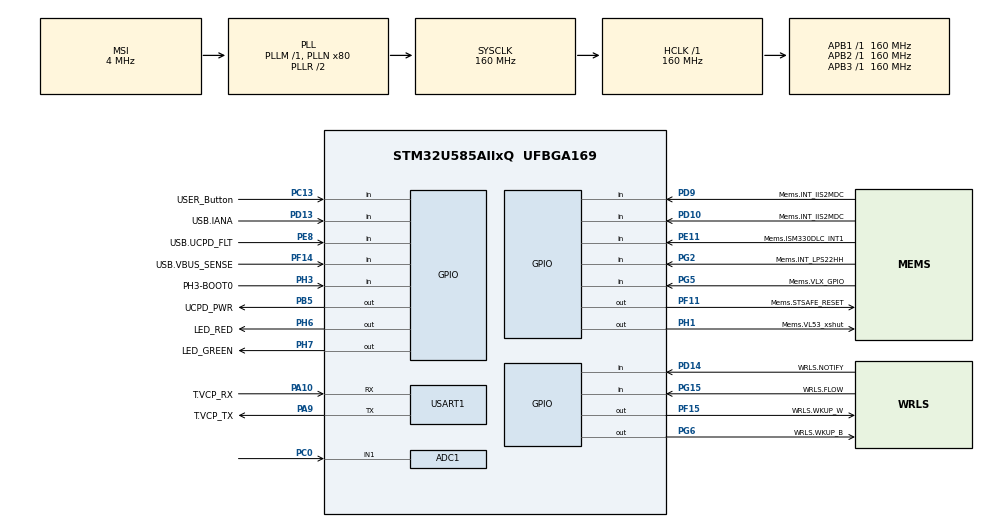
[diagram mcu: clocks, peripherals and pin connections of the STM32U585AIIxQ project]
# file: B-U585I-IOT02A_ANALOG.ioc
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ADC1.Channel-0\#ChannelRegularConversion=ADC_CHANNEL_1
ADC1.EnableRegularConversion=ENABLE
ADC1.MonitoredBy-0\#ChannelRegularConversion=__NULL
ADC1.NbrOfConversion=1
ADC1.NbrOfConversionFlag=1
ADC1.OffsetNumber-0\#ChannelRegularConversion=ADC_OFFSET_NONE
ADC1.Rank-0\#ChannelRegularConversion=1
ADC1.SamplingTime-0\#ChannelRegularConversion=ADC_SAMPLETIME_5CYCLE
ADC1.master=1
CORTEX_M33_NS.userName=CORTEX_M33
Mcu.Family=STM32U5
Mcu.Name=STM32U585AIIxQ
Mcu.Package=UFBGA169
NVIC.PriorityGroup=NVIC_PRIORITYGROUP_4
PA10.GPIO_Label=T.VCP_RX
PA10.Mode=Asynchronous
PA10.Signal=USART1_RX
PA11.GPIO_Label=USB.C_P
PA11.Signal=USB_OTG_FS_DM
PA12.GPIO_Label=USB.C_P
PA12.Signal=USB_OTG_FS_DP
PA13\ (JTMS/SWDIO).GPIO_Label=T.SWDIO
PA13\ (JTMS/SWDIO).Signal=DEBUG_JTMS-SWDIO
PA14\ (JTCK/SWCLK).GPIO_Label=T.SWCLK
PA14\ (JTCK/SWCLK).Signal=DEBUG_JTCK-SWCLK
PA15\ (JTDI).GPIO_Label=USB.UCPD_CC1
PA15\ (JTDI).Signal=UCPD1_CC1
PA9.GPIO_Label=T.VCP_TX
PA9.Mode=Asynchronous
PA9.Signal=USART1_TX
PB1.GPIO_Label=MIC.SDIN0
PB1.Signal=MDF1_SDI0
PB10.GPIO_Label=OCTOSPI.R_CLK_P
PB10.Signal=OCTOSPIM_P1_CLK
PB11.GPIO_Label=OCTOSPI.R_NCS
PB11.Signal=OCTOSPIM_P1_NCS
PB12.GPIO_Label=WRLS.SPI2_NSS
PB12.Signal=SPI2_NSS
PB15.GPIO_Label=USB.UCPD_CC2
PB15.Signal=UCPD1_CC2
PB3\ (JTDO/TRACESWO).GPIO_Label=T.SWO
PB3\ (JTDO/TRACESWO).Signal=DEBUG_JTDO-SWO
PB5.GPIO_Label=UCPD_PWR
PB5.Signal=GPIO_Output
PB8.Signal=I2C1_SCL
PB9.Signal=I2C1_SDA
PC0.Mode=IN1-Single-Ended
PC0.Signal=ADC1_IN1
PC10.GPIO_Label=WRLS.UART4_TX
PC10.Signal=UART4_TX
PC11.GPIO_Label=WRLS.UART4_RX
PC11.Signal=UART4_RX
PC13.GPIO_Label=USER_Button
PC13.Signal=GPIO_Input
PC14-OSC32_IN\ (PC14).GPIO_Label=PC14-OSC32_IN
PC14-OSC32_IN\ (PC14).Signal=RCC_OSC32_IN
PC15-OSC32_OUT\ (PC15).GPIO_Label=PC15-OSC32_OUT
PC15-OSC32_OUT\ (PC15).Signal=RCC_OSC32_OUT
PC3.GPIO_Label=OCTOSPI.R_IO6
PC3.Signal=OCTOSPIM_P1_IO6
PD1.GPIO_Label=WRLS.SPI2_SCK
PD1.Signal=SPI2_SCK
PD10.GPIO_Label=Mems.INT_IIS2MDC
PD10.Signal=GPIO_Input
PD13.GPIO_Label=USB.IANA
PD13.Signal=GPIO_Input
PD14.GPIO_Label=WRLS.NOTIFY
PD14.Signal=GPIO_Input
PD3.GPIO_Label=WRLS.SPI2_MISO
PD3.Signal=SPI2_MISO
PD4.GPIO_Label=WRLS.SPI2_MOSI
PD4.Signal=SPI2_MOSI
PD7.GPIO_Label=OCTOSPI.R_IO7
PD7.Signal=OCTOSPIM_P1_IO7
PD9.GPIO_Label=Mems.INT_IIS2MDC
PD9.Signal=GPIO_Input
PE10.GPIO_Label=MIC.SDINx
PE10.Signal=ADF1_SDI0
PE11.GPIO_Label=Mems.ISM330DLC_INT1
PE11.Signal=GPIO_Input
PE3.GPIO_Label=OCTOSPI.R_DQS
PE3.Signal=OCTOSPIM_P1_DQS
PE8.GPIO_Label=USB.UCPD_FLT
PE8.Signal=GPIO_Input
PE9.GPIO_Label=MIC.CCK0
PE9.Signal=ADF1_CCK0
PF0.GPIO_Label=OCTOSPI.F_IO0
PF0.Signal=OCTOSPIM_P2_IO0
PF1.GPIO_Label=OCTOSPI.F_IO1
PF1.Signal=OCTOSPIM_P2_IO1
PF10.GPIO_Label=MIC.CCK1
PF10.Signal=MDF1_CCK1
PF11.GPIO_Label=Mems.STSAFE_RESET
PF11.Signal=GPIO_Output
PF12.GPIO_Label=OCTOSPI.F_DQS
PF12.Signal=OCTOSPIM_P2_DQS
PF14.GPIO_Label=USB.VBUS_SENSE
PF14.Signal=GPIO_Input
PF15.GPIO_Label=WRLS.WKUP_W
PF15.Signal=GPIO_Output
PF2.GPIO_Label=OCTOSPI.F_IO2
PF2.Signal=OCTOSPIM_P2_IO2
PF3.GPIO_Label=OCTOSPI.F_IO3
PF3.Signal=OCTOSPIM_P2_IO3
PF4.GPIO_Label=OCTOSPI.F_CLK_P
PF4.Signal=OCTOSPIM_P2_CLK
PF6.GPIO_Label=OCTOSPI.R_IO3
PF6.Signal=OCTOSPIM_P1_IO3
PF7.GPIO_Label=OCTOSPI.R_IO2
PF7.Signal=OCTOSPIM_P1_IO2
PF8.GPIO_Label=OCTOSPI.R_IO0
PF8.Signal=OCTOSPIM_P1_IO0
PF9.GPIO_Label=OCTOSPI.R_IO1
PF9.Signal=OCTOSPIM_P1_IO1
PG15.GPIO_Label=WRLS.FLOW
PG15.Signal=GPIO_Input
PG2.GPIO_Label=Mems.INT_LPS22HH
PG2.Signal=GPIO_Input
PG5.GPIO_Label=Mems.VLX_GPIO
PG5.Signal=GPIO_Input
PG6.GPIO_Label=WRLS.WKUP_B
PG6.Signal=GPIO_Output
PH1-OSC_OUT\ (PH1).GPIO_Label=Mems.VL53_xshut
PH1-OSC_OUT\ (PH1).Signal=GPIO_Output
PH10.GPIO_Label=OCTOSPI.F_IO5
PH10.Signal=OCTOSPIM_P2_IO5
PH11.GPIO_Label=OCTOSPI.F_IO6
PH11.Signal=OCTOSPIM_P2_IO6
PH12.GPIO_Label=OCTOSPI.F_IO7
PH12.Signal=OCTOSPIM_P2_IO7
PH2.GPIO_Label=OCTOSPI.R_IO4
PH2.Signal=OCTOSPIM_P1_IO4
PH3-BOOT0.GPIO_Label=PH3-BOOT0
PH3-BOOT0.Signal=GPIO_Input
PH4.Signal=I2C2_SCL
PH5.Signal=I2C2_SDA
PH6.GPIO_Label=LED_RED
PH6.Signal=GPIO_Output
PH7.GPIO_Label=LED_GREEN
PH7.Signal=GPIO_Output
PH9.GPIO_Label=OCTOSPI.F_IO4
PH9.Signal=OCTOSPIM_P2_IO4
PI0.GPIO_Label=OCTOSPI.R_IO5
PI0.Signal=OCTOSPIM_P1_IO5
PI5.GPIO_Label=OCTOSPI.F_NCS
PI5.Signal=OCTOSPIM_P2_NCS
PWR.PowerMode=PWR_SMPS_SUPPLY
ProjectManager.HeapSize=0x200
ProjectManager.StackSize=0x400
ProjectManager.TargetToolchain=STM32CubeIDE
RCC.ADCFreq_Value=16000000
RCC.AHBFreq_Value=160000000
RCC.APB1Freq_Value=160000000
RCC.APB1TimFreq_Value=160000000
RCC.APB2Freq_Value=160000000
RCC.APB2TimFreq_Value=160000000
RCC.APB3Freq_Value=160000000
RCC.CortexFreq_Value=160000000
RCC.DACCLockSelectionVirtual=RCC_DAC1CLKSOURCE_LSI
RCC.DACCLockSelectionVirtualString=RCC_DAC1CLKSOURCE_LSI
RCC.EPOD_VALUE=4000000
RCC.HCLKFreq_Value=160000000
RCC.HSE_VALUE=16000000
RCC.HSI48_VALUE=48000000
RCC.HSI_VALUE=16000000
RCC.LSE_VALUE=32768
RCC.LSIDIV_VALUE=32000
RCC.MSI_VALUE=4000000
RCC.PLLN=80
RCC.SYSCLKFreq_VALUE=160000000
RCC.SYSCLKSource=RCC_SYSCLKSOURCE_PLLCLK
RCC.USBFreq_Value=48000000
RCC.VCOOutputFreq_Value=320000000
TIM2.Prescaler=160 - 1
USART1.VirtualMode-Asynchronous=VM_ASYNC
VP_LPBAMQUEUE_VS_QUEUE.Mode=QUEUEMODE
VP_LPBAM_VS_SIG1.Mode=SmartRun
VP_LPBAM_VS_SIG4.Mode=LPDMA1
VP_PWR_VS_DBSignals.Mode=DisableDeadBatterySignals
VP_PWR_VS_LPOM.Mode=PowerOptimisation
VP_PWR_VS_SECSignals.Mode=Security/Privilege
VP_TIM2_VS_ClockSourceINT.Mode=Internal
board=B-U585I-IOT02A

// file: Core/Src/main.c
/* USER CODE BEGIN Header */
/**
  ******************************************************************************
  * @file           : main.c
  * @brief          : Main program body
  ******************************************************************************
  * @attention
  *
  * Copyright (c) 2022 STMicroelectronics.
  * All rights reserved.
  *
  * This software is licensed under terms that can be found in the LICENSE file
  * in the root directory of this software component.
  * If no LICENSE file comes with this software, it is provided AS-IS.
  *
  ******************************************************************************
  */
/* USER CODE END Header */
#include "main.h"

/* USER CODE BEGIN Includes */
#include <string.h>
#include <stdio.h>
#include <cycle_dwt.h>
#include "NanoEdgeAI.h"

/* USER CODE END Includes */

/* USER CODE BEGIN PD */
/************************************************************ NEAI algorithm defines begin ************************************************************/
/************************************************************ Global settings part ************************************************************/
#ifndef SAMPLES
  #define SAMPLES           256     /* Should be between 16 & 4096 */
#endif
#ifndef ANALOG_ODR
  #define ANALOG_ODR        1000    /* Should be between 1 & 100 kHz */
#endif
/************************************************************ Datalogger / NEAI mode part ************************************************************/
#ifndef NEAI_MODE
  #define NEAI_MODE         0       /* 0: Datalogger mode, 1: NEAI functions mode */
#endif
#if (NEAI_MODE == 1)
  #ifndef NEAI_LEARN_NB
    #define NEAI_LEARN_NB   20      /* Number of buffers to be learn by the NEAI library */
  #endif
#endif
/************************************************************ NEAI algorithm defines end ************************************************************/
/* USER CODE END PD */

 ADC_HandleTypeDef hadc1;

TIM_HandleTypeDef htim2;

UART_HandleTypeDef huart1;

/* USER CODE BEGIN PV */
uint8_t neai_similarity = 0, neai_state = 0;
uint16_t neai_cnt = 0;
float odr_timer = 0.0, time_cycles = 0.0;
float neai_time = 0.0;
float neai_buffer[SAMPLES] = {0.0};

/* USER CODE END PV */

void SystemClock_Config(void);
static void SystemPower_Config(void);
static void MX_GPIO_Init(void);
static void MX_ADC1_Init(void);
static void MX_USART1_UART_Init(void);
static void MX_TIM2_Init(void);
/* USER CODE BEGIN PFP */
static void NEAI_Delay_us (uint32_t us);
static void get_adc_data(void);

/* USER CODE END PFP */

int main(void)
{

  /* MCU Configuration--------------------------------------------------------*/

  /* Reset of all peripherals, Initializes the Flash interface and the Systick. */
  HAL_Init();

  /* Configure the system clock */
  SystemClock_Config();

  /* Configure the System Power */
  SystemPower_Config();

  /* USER CODE BEGIN SysInit */
  HAL_PWREx_EnableVddA();
  /* USER CODE END SysInit */

  /* Initialize all configured peripherals */
  MX_GPIO_Init();
  MX_ADC1_Init();
  MX_USART1_UART_Init();
  MX_TIM2_Init();
  /* USER CODE BEGIN 2 */
  KIN1_InitCycleCounter();
  KIN1_EnableCycleCounter();
  HAL_TIM_Base_Start(&htim2);
  /* Get the time to wait between each samples in µs */
  odr_timer = 1000000.0 / ANALOG_ODR;
  if (NEAI_MODE) {
    neai_state = neai_anomalydetection_init();
    printf("Initialize NEAI library. NEAI init return: %d.\n",  neai_state);
  }
  /* USER CODE END 2 */

  /* Infinite loop */
  /* USER CODE BEGIN WHILE */
  while (1)
  {
    get_adc_data();
#if NEAI_MODE
    uint32_t cycles_cnt = 0;
    if (neai_cnt < NEAI_LEARN_NB) {
      neai_cnt++;
      KIN1_ResetCycleCounter();
      neai_state = neai_anomalydetection_learn(neai_buffer);
      cycles_cnt = KIN1_GetCycleCounter();
      neai_time = (cycles_cnt * 1000000.0) / HAL_RCC_GetSysClockFreq();
      printf("Learn: %d / %d. NEAI learn return: %d. Cycles counter: %ld = %.1f µs at %ld Hz.\n",
            neai_cnt, NEAI_LEARN_NB, neai_state, cycles_cnt, neai_time, HAL_RCC_GetSysClockFreq());
    }
    else {
      KIN1_ResetCycleCounter();
      neai_state = neai_anomalydetection_detect(neai_buffer, &neai_similarity);
      cycles_cnt = KIN1_GetCycleCounter();
      neai_time = (cycles_cnt * 1000000.0) / HAL_RCC_GetSysClockFreq();
      printf("Similarity: %d / 100. NEAI detect return: %d. Cycles counter: %ld = %.1f µs at %ld Hz.\n",
            neai_similarity, neai_state, cycles_cnt, neai_time, HAL_RCC_GetSysClockFreq());
    }
#else
    for (uint16_t i = 0; i < SAMPLES; i++) {
      printf("%.3f ", neai_buffer[i]);
    }
    printf("\n");
#endif
    /* Clean neai buffer */
    memset(neai_buffer, 0x00, SAMPLES * sizeof(float));
    /* USER CODE END WHILE */

  }
}

void SystemClock_Config(void)
{
  RCC_OscInitTypeDef RCC_OscInitStruct = {0};
  RCC_ClkInitTypeDef RCC_ClkInitStruct = {0};

  /** Configure the main internal regulator output voltage
  */
  if (HAL_PWREx_ControlVoltageScaling(PWR_REGULATOR_VOLTAGE_SCALE1) != HAL_OK)
  {
    Error_Handler();
  }

  /** Initializes the CPU, AHB and APB busses clocks
  */
  RCC_OscInitStruct.OscillatorType = RCC_OSCILLATORTYPE_HSI|RCC_OSCILLATORTYPE_MSI;
  RCC_OscInitStruct.HSIState = RCC_HSI_ON;
  RCC_OscInitStruct.HSICalibrationValue = RCC_HSICALIBRATION_DEFAULT;
  RCC_OscInitStruct.MSIState = RCC_MSI_ON;
  RCC_OscInitStruct.MSICalibrationValue = RCC_MSICALIBRATION_DEFAULT;
  RCC_OscInitStruct.MSIClockRange = RCC_MSIRANGE_4;
  RCC_OscInitStruct.PLL.PLLState = RCC_PLL_ON;
  RCC_OscInitStruct.PLL.PLLSource = RCC_PLLSOURCE_MSI;
  RCC_OscInitStruct.PLL.PLLMBOOST = RCC_PLLMBOOST_DIV1;
  RCC_OscInitStruct.PLL.PLLM = 1;
  RCC_OscInitStruct.PLL.PLLN = 80;
  RCC_OscInitStruct.PLL.PLLP = 2;
  RCC_OscInitStruct.PLL.PLLQ = 2;
  RCC_OscInitStruct.PLL.PLLR = 2;
  RCC_OscInitStruct.PLL.PLLRGE = RCC_PLLVCIRANGE_0;
  RCC_OscInitStruct.PLL.PLLFRACN = 0;
  if (HAL_RCC_OscConfig(&RCC_OscInitStruct) != HAL_OK)
  {
    Error_Handler();
  }

  /** Initializes the CPU, AHB and APB busses clocks
  */
  RCC_ClkInitStruct.ClockType = RCC_CLOCKTYPE_HCLK|RCC_CLOCKTYPE_SYSCLK
                              |RCC_CLOCKTYPE_PCLK1|RCC_CLOCKTYPE_PCLK2
                              |RCC_CLOCKTYPE_PCLK3;
  RCC_ClkInitStruct.SYSCLKSource = RCC_SYSCLKSOURCE_PLLCLK;
  RCC_ClkInitStruct.AHBCLKDivider = RCC_SYSCLK_DIV1;
  RCC_ClkInitStruct.APB1CLKDivider = RCC_HCLK_DIV1;
  RCC_ClkInitStruct.APB2CLKDivider = RCC_HCLK_DIV1;
  RCC_ClkInitStruct.APB3CLKDivider = RCC_HCLK_DIV1;

  if (HAL_RCC_ClockConfig(&RCC_ClkInitStruct, FLASH_LATENCY_4) != HAL_OK)
  {
    Error_Handler();
  }
}

/**
  * @brief Power Configuration
  * @retval None
  */
static void SystemPower_Config(void)
{
  HAL_PWREx_EnableVddIO2();

  /*
   * Disable the internal Pull-Up in Dead Battery pins of UCPD peripheral
   */
  HAL_PWREx_DisableUCPDDeadBattery();

  /*
   * Switch to SMPS regulator instead of LDO
   */
  if (HAL_PWREx_ConfigSupply(PWR_SMPS_SUPPLY) != HAL_OK)
  {
    Error_Handler();
  }
}

static void MX_ADC1_Init(void)
{

  ADC_ChannelConfTypeDef sConfig = {0};

  /** Common config
  */
  hadc1.Instance = ADC1;
  hadc1.Init.ClockPrescaler = ADC_CLOCK_ASYNC_DIV1;
  hadc1.Init.Resolution = ADC_RESOLUTION_14B;
  hadc1.Init.GainCompensation = 0;
  hadc1.Init.ScanConvMode = ADC_SCAN_DISABLE;
  hadc1.Init.EOCSelection = ADC_EOC_SINGLE_CONV;
  hadc1.Init.LowPowerAutoWait = DISABLE;
  hadc1.Init.ContinuousConvMode = DISABLE;
  hadc1.Init.NbrOfConversion = 1;
  hadc1.Init.DiscontinuousConvMode = DISABLE;
  hadc1.Init.ExternalTrigConv = ADC_SOFTWARE_START;
  hadc1.Init.ExternalTrigConvEdge = ADC_EXTERNALTRIGCONVEDGE_NONE;
  hadc1.Init.DMAContinuousRequests = DISABLE;
  hadc1.Init.TriggerFrequencyMode = ADC_TRIGGER_FREQ_HIGH;
  hadc1.Init.Overrun = ADC_OVR_DATA_PRESERVED;
  hadc1.Init.LeftBitShift = ADC_LEFTBITSHIFT_NONE;
  hadc1.Init.ConversionDataManagement = ADC_CONVERSIONDATA_DR;
  hadc1.Init.OversamplingMode = DISABLE;
  if (HAL_ADC_Init(&hadc1) != HAL_OK)
  {
    Error_Handler();
  }

  /** Configure Regular Channel
  */
  sConfig.Channel = ADC_CHANNEL_1;
  sConfig.Rank = ADC_REGULAR_RANK_1;
  sConfig.SamplingTime = ADC_SAMPLETIME_5CYCLE;
  sConfig.SingleDiff = ADC_SINGLE_ENDED;
  sConfig.OffsetNumber = ADC_OFFSET_NONE;
  sConfig.Offset = 0;
  if (HAL_ADC_ConfigChannel(&hadc1, &sConfig) != HAL_OK)
  {
    Error_Handler();
  }

}

static void MX_TIM2_Init(void)
{

  TIM_ClockConfigTypeDef sClockSourceConfig = {0};
  TIM_MasterConfigTypeDef sMasterConfig = {0};

  htim2.Instance = TIM2;
  htim2.Init.Prescaler = 160 - 1;
  htim2.Init.CounterMode = TIM_COUNTERMODE_UP;
  htim2.Init.Period = 4.294967295E9;
  htim2.Init.ClockDivision = TIM_CLOCKDIVISION_DIV1;
  htim2.Init.AutoReloadPreload = TIM_AUTORELOAD_PRELOAD_DISABLE;
  if (HAL_TIM_Base_Init(&htim2) != HAL_OK)
  {
    Error_Handler();
  }
  sClockSourceConfig.ClockSource = TIM_CLOCKSOURCE_INTERNAL;
  if (HAL_TIM_ConfigClockSource(&htim2, &sClockSourceConfig) != HAL_OK)
  {
    Error_Handler();
  }
  sMasterConfig.MasterOutputTrigger = TIM_TRGO_RESET;
  sMasterConfig.MasterSlaveMode = TIM_MASTERSLAVEMODE_DISABLE;
  if (HAL_TIMEx_MasterConfigSynchronization(&htim2, &sMasterConfig) != HAL_OK)
  {
    Error_Handler();
  }

}

static void MX_USART1_UART_Init(void)
{

  huart1.Instance = USART1;
  huart1.Init.BaudRate = 115200;
  huart1.Init.WordLength = UART_WORDLENGTH_8B;
  huart1.Init.StopBits = UART_STOPBITS_1;
  huart1.Init.Parity = UART_PARITY_NONE;
  huart1.Init.Mode = UART_MODE_TX_RX;
  huart1.Init.HwFlowCtl = UART_HWCONTROL_NONE;
  huart1.Init.OverSampling = UART_OVERSAMPLING_16;
  huart1.Init.OneBitSampling = UART_ONE_BIT_SAMPLE_DISABLE;
  huart1.Init.ClockPrescaler = UART_PRESCALER_DIV1;
  huart1.AdvancedInit.AdvFeatureInit = UART_ADVFEATURE_NO_INIT;
  if (HAL_UART_Init(&huart1) != HAL_OK)
  {
    Error_Handler();
  }
  if (HAL_UARTEx_SetTxFifoThreshold(&huart1, UART_TXFIFO_THRESHOLD_1_8) != HAL_OK)
  {
    Error_Handler();
  }
  if (HAL_UARTEx_SetRxFifoThreshold(&huart1, UART_RXFIFO_THRESHOLD_1_8) != HAL_OK)
  {
    Error_Handler();
  }
  if (HAL_UARTEx_DisableFifoMode(&huart1) != HAL_OK)
  {
    Error_Handler();
  }

}

static void MX_GPIO_Init(void)
{
  GPIO_InitTypeDef GPIO_InitStruct = {0};

  /* GPIO Ports Clock Enable */
  __HAL_RCC_GPIOG_CLK_ENABLE();
  __HAL_RCC_GPIOC_CLK_ENABLE();
  __HAL_RCC_GPIOA_CLK_ENABLE();
  __HAL_RCC_GPIOI_CLK_ENABLE();
  __HAL_RCC_GPIOH_CLK_ENABLE();
  __HAL_RCC_GPIOB_CLK_ENABLE();
  __HAL_RCC_GPIOD_CLK_ENABLE();
  __HAL_RCC_GPIOE_CLK_ENABLE();
  __HAL_RCC_GPIOF_CLK_ENABLE();

  /*Configure GPIO pin Output Level */
  HAL_GPIO_WritePin(UCPD_PWR_GPIO_Port, UCPD_PWR_Pin, GPIO_PIN_RESET);

  /*Configure GPIO pin Output Level */
  HAL_GPIO_WritePin(GPIOH, LED_RED_Pin|LED_GREEN_Pin|Mems_VL53_xshut_Pin, GPIO_PIN_RESET);

  /*Configure GPIO pin Output Level */
  HAL_GPIO_WritePin(WRLS_WKUP_B_GPIO_Port, WRLS_WKUP_B_Pin, GPIO_PIN_RESET);

  /*Configure GPIO pin Output Level */
  HAL_GPIO_WritePin(GPIOF, Mems_STSAFE_RESET_Pin|WRLS_WKUP_W_Pin, GPIO_PIN_RESET);

  /*Configure GPIO pins : WRLS_FLOW_Pin Mems_VLX_GPIO_Pin Mems_INT_LPS22HH_Pin */
  GPIO_InitStruct.Pin = WRLS_FLOW_Pin|Mems_VLX_GPIO_Pin|Mems_INT_LPS22HH_Pin;
  GPIO_InitStruct.Mode = GPIO_MODE_INPUT;
  GPIO_InitStruct.Pull = GPIO_NOPULL;
  HAL_GPIO_Init(GPIOG, &GPIO_InitStruct);

  /*Configure GPIO pins : WRLS_UART4_RX_Pin WRLS_UART4_TX_Pin */
  GPIO_InitStruct.Pin = WRLS_UART4_RX_Pin|WRLS_UART4_TX_Pin;
  GPIO_InitStruct.Mode = GPIO_MODE_AF_PP;
  GPIO_InitStruct.Pull = GPIO_NOPULL;
  GPIO_InitStruct.Speed = GPIO_SPEED_FREQ_LOW;
  GPIO_InitStruct.Alternate = GPIO_AF8_UART4;
  HAL_GPIO_Init(GPIOC, &GPIO_InitStruct);

  /*Configure GPIO pin : USB_UCPD_CC1_Pin */
  GPIO_InitStruct.Pin = USB_UCPD_CC1_Pin;
  GPIO_InitStruct.Mode = GPIO_MODE_ANALOG;
  GPIO_InitStruct.Pull = GPIO_NOPULL;
  HAL_GPIO_Init(USB_UCPD_CC1_GPIO_Port, &GPIO_InitStruct);

  /*Configure GPIO pin : OCTOSPI_F_NCS_Pin */
  GPIO_InitStruct.Pin = OCTOSPI_F_NCS_Pin;
  GPIO_InitStruct.Mode = GPIO_MODE_AF_PP;
  GPIO_InitStruct.Pull = GPIO_NOPULL;
  GPIO_InitStruct.Speed = GPIO_SPEED_FREQ_VERY_HIGH;
  GPIO_InitStruct.Alternate = GPIO_AF5_OCTOSPI2;
  HAL_GPIO_Init(OCTOSPI_F_NCS_GPIO_Port, &GPIO_InitStruct);

  /*Configure GPIO pin : OCTOSPI_R_IO5_Pin */
  GPIO_InitStruct.Pin = OCTOSPI_R_IO5_Pin;
  GPIO_InitStruct.Mode = GPIO_MODE_AF_PP;
  GPIO_InitStruct.Pull = GPIO_NOPULL;
  GPIO_InitStruct.Speed = GPIO_SPEED_FREQ_VERY_HIGH;
  GPIO_InitStruct.Alternate = GPIO_AF3_OCTOSPI1;
  HAL_GPIO_Init(OCTOSPI_R_IO5_GPIO_Port, &GPIO_InitStruct);

  /*Configure GPIO pins : OCTOSPI_F_IO7_Pin OCTOSPI_F_IO5_Pin OCTOSPI_F_IO6_Pin OCTOSPI_F_IO4_Pin */
  GPIO_InitStruct.Pin = OCTOSPI_F_IO7_Pin|OCTOSPI_F_IO5_Pin|OCTOSPI_F_IO6_Pin|OCTOSPI_F_IO4_Pin;
  GPIO_InitStruct.Mode = GPIO_MODE_AF_PP;
  GPIO_InitStruct.Pull = GPIO_NOPULL;
  GPIO_InitStruct.Speed = GPIO_SPEED_FREQ_VERY_HIGH;
  GPIO_InitStruct.Alternate = GPIO_AF5_OCTOSPI2;
  HAL_GPIO_Init(GPIOH, &GPIO_InitStruct);

  /*Configure GPIO pin : PH3_BOOT0_Pin */
  GPIO_InitStruct.Pin = PH3_BOOT0_Pin;
  GPIO_InitStruct.Mode = GPIO_MODE_INPUT;
  GPIO_InitStruct.Pull = GPIO_NOPULL;
  HAL_GPIO_Init(PH3_BOOT0_GPIO_Port, &GPIO_InitStruct);

  /*Configure GPIO pin : UCPD_PWR_Pin */
  GPIO_InitStruct.Pin = UCPD_PWR_Pin;
  GPIO_InitStruct.Mode = GPIO_MODE_OUTPUT_PP;
  GPIO_InitStruct.Pull = GPIO_NOPULL;
  GPIO_InitStruct.Speed = GPIO_SPEED_FREQ_LOW;
  HAL_GPIO_Init(UCPD_PWR_GPIO_Port, &GPIO_InitStruct);

  /*Configure GPIO pins : WRLS_SPI2_MOSI_Pin WRLS_SPI2_MISO_Pin WRLS_SPI2_SCK_Pin */
  GPIO_InitStruct.Pin = WRLS_SPI2_MOSI_Pin|WRLS_SPI2_MISO_Pin|WRLS_SPI2_SCK_Pin;
  GPIO_InitStruct.Mode = GPIO_MODE_AF_PP;
  GPIO_InitStruct.Pull = GPIO_NOPULL;
  GPIO_InitStruct.Speed = GPIO_SPEED_FREQ_LOW;
  GPIO_InitStruct.Alternate = GPIO_AF5_SPI2;
  HAL_GPIO_Init(GPIOD, &GPIO_InitStruct);

  /*Configure GPIO pin : OCTOSPI_R_DQS_Pin */
  GPIO_InitStruct.Pin = OCTOSPI_R_DQS_Pin;
  GPIO_InitStruct.Mode = GPIO_MODE_AF_PP;
  GPIO_InitStruct.Pull = GPIO_NOPULL;
  GPIO_InitStruct.Speed = GPIO_SPEED_FREQ_VERY_HIGH;
  GPIO_InitStruct.Alternate = GPIO_AF3_OCTOSPI1;
  HAL_GPIO_Init(OCTOSPI_R_DQS_GPIO_Port, &GPIO_InitStruct);

  /*Configure GPIO pins : PB9 PB8 */
  GPIO_InitStruct.Pin = GPIO_PIN_9|GPIO_PIN_8;
  GPIO_InitStruct.Mode = GPIO_MODE_AF_OD;
  GPIO_InitStruct.Pull = GPIO_NOPULL;
  GPIO_InitStruct.Speed = GPIO_SPEED_FREQ_LOW;
  GPIO_InitStruct.Alternate = GPIO_AF4_I2C1;
  HAL_GPIO_Init(GPIOB, &GPIO_InitStruct);

  /*Configure GPIO pin : OCTOSPI_R_IO7_Pin */
  GPIO_InitStruct.Pin = OCTOSPI_R_IO7_Pin;
  GPIO_InitStruct.Mode = GPIO_MODE_AF_PP;
  GPIO_InitStruct.Pull = GPIO_NOPULL;
  GPIO_InitStruct.Speed = GPIO_SPEED_FREQ_VERY_HIGH;
  GPIO_InitStruct.Alternate = GPIO_AF10_OCTOSPI1;
  HAL_GPIO_Init(OCTOSPI_R_IO7_GPIO_Port, &GPIO_InitStruct);

  /*Configure GPIO pins : OCTOSPI_F_IO0_Pin OCTOSPI_F_IO1_Pin OCTOSPI_F_IO2_Pin OCTOSPI_F_IO3_Pin
                           OCTOSPI_F_CLK_P_Pin OCTOSPI_F_DQS_Pin */
  GPIO_InitStruct.Pin = OCTOSPI_F_IO0_Pin|OCTOSPI_F_IO1_Pin|OCTOSPI_F_IO2_Pin|OCTOSPI_F_IO3_Pin
                          |OCTOSPI_F_CLK_P_Pin|OCTOSPI_F_DQS_Pin;
  GPIO_InitStruct.Mode = GPIO_MODE_AF_PP;
  GPIO_InitStruct.Pull = GPIO_NOPULL;
  GPIO_InitStruct.Speed = GPIO_SPEED_FREQ_VERY_HIGH;
  GPIO_InitStruct.Alternate = GPIO_AF5_OCTOSPI2;
  HAL_GPIO_Init(GPIOF, &GPIO_InitStruct);

  /*Configure GPIO pin : USER_Button_Pin */
  GPIO_InitStruct.Pin = USER_Button_Pin;
  GPIO_InitStruct.Mode = GPIO_MODE_INPUT;
  GPIO_InitStruct.Pull = GPIO_NOPULL;
  HAL_GPIO_Init(USER_Button_GPIO_Port, &GPIO_InitStruct);

  /*Configure GPIO pins : PH4 PH5 */
  GPIO_InitStruct.Pin = GPIO_PIN_4|GPIO_PIN_5;
  GPIO_InitStruct.Mode = GPIO_MODE_AF_OD;
  GPIO_InitStruct.Pull = GPIO_NOPULL;
  GPIO_InitStruct.Speed = GPIO_SPEED_FREQ_LOW;
  GPIO_InitStruct.Alternate = GPIO_AF4_I2C2;
  HAL_GPIO_Init(GPIOH, &GPIO_InitStruct);

  /*Configure GPIO pins : LED_RED_Pin LED_GREEN_Pin Mems_VL53_xshut_Pin */
  GPIO_InitStruct.Pin = LED_RED_Pin|LED_GREEN_Pin|Mems_VL53_xshut_Pin;
  GPIO_InitStruct.Mode = GPIO_MODE_OUTPUT_PP;
  GPIO_InitStruct.Pull = GPIO_NOPULL;
  GPIO_InitStruct.Speed = GPIO_SPEED_FREQ_LOW;
  HAL_GPIO_Init(GPIOH, &GPIO_InitStruct);

  /*Configure GPIO pins : OCTOSPI_R_IO0_Pin OCTOSPI_R_IO2_Pin OCTOSPI_R_IO1_Pin OCTOSPI_R_IO3_Pin */
  GPIO_InitStruct.Pin = OCTOSPI_R_IO0_Pin|OCTOSPI_R_IO2_Pin|OCTOSPI_R_IO1_Pin|OCTOSPI_R_IO3_Pin;
  GPIO_InitStruct.Mode = GPIO_MODE_AF_PP;
  GPIO_InitStruct.Pull = GPIO_NOPULL;
  GPIO_InitStruct.Speed = GPIO_SPEED_FREQ_VERY_HIGH;
  GPIO_InitStruct.Alternate = GPIO_AF10_OCTOSPI1;
  HAL_GPIO_Init(GPIOF, &GPIO_InitStruct);

  /*Configure GPIO pin : OCTOSPI_R_IO4_Pin */
  GPIO_InitStruct.Pin = OCTOSPI_R_IO4_Pin;
  GPIO_InitStruct.Mode = GPIO_MODE_AF_PP;
  GPIO_InitStruct.Pull = GPIO_NOPULL;
  GPIO_InitStruct.Speed = GPIO_SPEED_FREQ_VERY_HIGH;
  GPIO_InitStruct.Alternate = GPIO_AF3_OCTOSPI1;
  HAL_GPIO_Init(OCTOSPI_R_IO4_GPIO_Port, &GPIO_InitStruct);

  /*Configure GPIO pins : USB_C_P_Pin USB_C_PA11_Pin */
  GPIO_InitStruct.Pin = USB_C_P_Pin|USB_C_PA11_Pin;
  GPIO_InitStruct.Mode = GPIO_MODE_AF_PP;
  GPIO_InitStruct.Pull = GPIO_NOPULL;
  GPIO_InitStruct.Speed = GPIO_SPEED_FREQ_LOW;
  GPIO_InitStruct.Alternate = GPIO_AF10_USB;
  HAL_GPIO_Init(GPIOA, &GPIO_InitStruct);

  /*Configure GPIO pin : MIC_CCK1_Pin */
  GPIO_InitStruct.Pin = MIC_CCK1_Pin;
  GPIO_InitStruct.Mode = GPIO_MODE_AF_PP;
  GPIO_InitStruct.Pull = GPIO_NOPULL;
  GPIO_InitStruct.Speed = GPIO_SPEED_FREQ_LOW;
  GPIO_InitStruct.Alternate = GPIO_AF6_MDF1;
  HAL_GPIO_Init(MIC_CCK1_GPIO_Port, &GPIO_InitStruct);

  /*Configure GPIO pins : MIC_SDINx_Pin MIC_CCK0_Pin */
  GPIO_InitStruct.Pin = MIC_SDINx_Pin|MIC_CCK0_Pin;
  GPIO_InitStruct.Mode = GPIO_MODE_AF_PP;
  GPIO_InitStruct.Pull = GPIO_NOPULL;
  GPIO_InitStruct.Speed = GPIO_SPEED_FREQ_LOW;
  GPIO_InitStruct.Alternate = GPIO_AF3_ADF1;
  HAL_GPIO_Init(GPIOE, &GPIO_InitStruct);

  /*Configure GPIO pin : WRLS_WKUP_B_Pin */
  GPIO_InitStruct.Pin = WRLS_WKUP_B_Pin;
  GPIO_InitStruct.Mode = GPIO_MODE_OUTPUT_PP;
  GPIO_InitStruct.Pull = GPIO_NOPULL;
  GPIO_InitStruct.Speed = GPIO_SPEED_FREQ_LOW;
  HAL_GPIO_Init(WRLS_WKUP_B_GPIO_Port, &GPIO_InitStruct);

  /*Configure GPIO pins : WRLS_NOTIFY_Pin Mems_INT_IIS2MDC_Pin USB_IANA_Pin Mems_INT_IIS2MDCD9_Pin */
  GPIO_InitStruct.Pin = WRLS_NOTIFY_Pin|Mems_INT_IIS2MDC_Pin|USB_IANA_Pin|Mems_INT_IIS2MDCD9_Pin;
  GPIO_InitStruct.Mode = GPIO_MODE_INPUT;
  GPIO_InitStruct.Pull = GPIO_NOPULL;
  HAL_GPIO_Init(GPIOD, &GPIO_InitStruct);

  /*Configure GPIO pin : OCTOSPI_R_IO6_Pin */
  GPIO_InitStruct.Pin = OCTOSPI_R_IO6_Pin;
  GPIO_InitStruct.Mode = GPIO_MODE_AF_PP;
  GPIO_InitStruct.Pull = GPIO_NOPULL;
  GPIO_InitStruct.Speed = GPIO_SPEED_FREQ_VERY_HIGH;
  GPIO_InitStruct.Alternate = GPIO_AF10_OCTOSPI1;
  HAL_GPIO_Init(OCTOSPI_R_IO6_GPIO_Port, &GPIO_InitStruct);

  /*Configure GPIO pins : USB_UCPD_FLT_Pin Mems_ISM330DLC_INT1_Pin */
  GPIO_InitStruct.Pin = USB_UCPD_FLT_Pin|Mems_ISM330DLC_INT1_Pin;
  GPIO_InitStruct.Mode = GPIO_MODE_INPUT;
  GPIO_InitStruct.Pull = GPIO_NOPULL;
  HAL_GPIO_Init(GPIOE, &GPIO_InitStruct);

  /*Configure GPIO pins : OCTOSPI_R_CLK_P_Pin OCTOSPI_R_NCS_Pin */
  GPIO_InitStruct.Pin = OCTOSPI_R_CLK_P_Pin|OCTOSPI_R_NCS_Pin;
  GPIO_InitStruct.Mode = GPIO_MODE_AF_PP;
  GPIO_InitStruct.Pull = GPIO_NOPULL;
  GPIO_InitStruct.Speed = GPIO_SPEED_FREQ_VERY_HIGH;
  GPIO_InitStruct.Alternate = GPIO_AF10_OCTOSPI1;
  HAL_GPIO_Init(GPIOB, &GPIO_InitStruct);

  /*Configure GPIO pin : USB_VBUS_SENSE_Pin */
  GPIO_InitStruct.Pin = USB_VBUS_SENSE_Pin;
  GPIO_InitStruct.Mode = GPIO_MODE_INPUT;
  GPIO_InitStruct.Pull = GPIO_NOPULL;
  HAL_GPIO_Init(USB_VBUS_SENSE_GPIO_Port, &GPIO_InitStruct);

  /*Configure GPIO pin : WRLS_SPI2_NSS_Pin */
  GPIO_InitStruct.Pin = WRLS_SPI2_NSS_Pin;
  GPIO_InitStruct.Mode = GPIO_MODE_AF_PP;
  GPIO_InitStruct.Pull = GPIO_NOPULL;
  GPIO_InitStruct.Speed = GPIO_SPEED_FREQ_LOW;
  GPIO_InitStruct.Alternate = GPIO_AF5_SPI2;
  HAL_GPIO_Init(WRLS_SPI2_NSS_GPIO_Port, &GPIO_InitStruct);

  /*Configure GPIO pin : USB_UCPD_CC2_Pin */
  GPIO_InitStruct.Pin = USB_UCPD_CC2_Pin;
  GPIO_InitStruct.Mode = GPIO_MODE_ANALOG;
  GPIO_InitStruct.Pull = GPIO_NOPULL;
  HAL_GPIO_Init(USB_UCPD_CC2_GPIO_Port, &GPIO_InitStruct);

  /*Configure GPIO pins : Mems_STSAFE_RESET_Pin WRLS_WKUP_W_Pin */
  GPIO_InitStruct.Pin = Mems_STSAFE_RESET_Pin|WRLS_WKUP_W_Pin;
  GPIO_InitStruct.Mode = GPIO_MODE_OUTPUT_PP;
  GPIO_InitStruct.Pull = GPIO_NOPULL;
  GPIO_InitStruct.Speed = GPIO_SPEED_FREQ_LOW;
  HAL_GPIO_Init(GPIOF, &GPIO_InitStruct);

  /*Configure GPIO pin : MIC_SDIN0_Pin */
  GPIO_InitStruct.Pin = MIC_SDIN0_Pin;
  GPIO_InitStruct.Mode = GPIO_MODE_AF_PP;
  GPIO_InitStruct.Pull = GPIO_NOPULL;
  GPIO_InitStruct.Speed = GPIO_SPEED_FREQ_LOW;
  GPIO_InitStruct.Alternate = GPIO_AF6_MDF1;
  HAL_GPIO_Init(MIC_SDIN0_GPIO_Port, &GPIO_InitStruct);

}

/* USER CODE BEGIN 4 */
/**
  * @brief 	Redirecting stdout to USART1 which is connected on the STLINK port
  * @retval
  * @param
  */
int __io_putchar(int ch)
{
 uint8_t c[1];
 c[0] = ch & 0x00FF;
 HAL_UART_Transmit(&huart1, &*c, 1, 10);
 return ch;
}

/*
 * @brief  Wait a delay in µs
 *
 * @param  us: delay in µs
 *
 * @return No
 *
 */
static void NEAI_Delay_us (uint32_t us)
{
  /* Set the htim2 counter to 0 in order to restart counter */
  __HAL_TIM_SET_COUNTER(&htim2, 0);
  /* According to the RM0456, in theory:
   * With ADC_CLK = 16 MHz and a sampling time of 1.5 ADC clock cycles:
   * Tconv = 1.5 + 12.5 = 14 ADC clock cycles = 0.875 µs
   * In practice: we wait µs - "2", seems to be better
   */
  while (__HAL_TIM_GET_COUNTER(&htim2) < us - 2);
}

/*
 * @brief  Get the ADC raw values in the neai buffer
 *
 * @param  No
 *
 * @return No
 *
 */
static void get_adc_data ()
{
  for (uint16_t i = 0; i < SAMPLES; i++) {
    HAL_ADC_Start(&hadc1);
    /* Here we call PollForConversion function without delay */
    HAL_ADC_PollForConversion(&hadc1, 0);
    /* Get ADC data in neai_buffer */
    neai_buffer[i] = (float) HAL_ADC_GetValue(&hadc1);
    NEAI_Delay_us(odr_timer);
  }
}

/* USER CODE END 4 */

void Error_Handler(void)
{
  __disable_irq();
  while (1)
  {
  }
}
